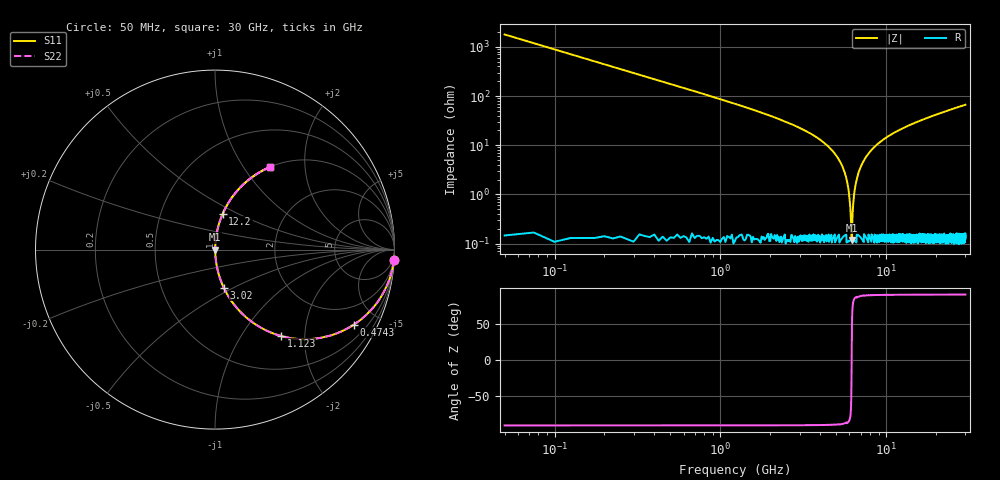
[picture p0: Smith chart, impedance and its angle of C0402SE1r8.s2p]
!	AVX Thin Film Operation 	Date: April 2014
!	Description: Accu-P® Series, Thin Film  SMD RF Capacitor
!	Part Number: 04021J1R8PBSTR
# MHZ S MA R 50
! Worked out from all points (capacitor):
!   1201 points, 50 MHz to 30 GHz, reference 50 ohm
!   read as one part in series: C = 1.8 pF near 199.8 MHz
!   lowest |Z| = 118 mohm at 6.19 GHz (marker M1)
!   series resonance near 6.184 GHz, so ESL is about 370 pH
!   S11 on the Smith chart (normalised r, x): 50 MHz: 1, -35; 474.3 MHz: 1.00, -3.71; 1.123 GHz: 1.00, -1.52; 3.02 GHz: 1.00, -0.45; 12.2 GHz: 1.00, +0.42; 30 GHz: 1.00, +1.33
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50  0.998 -3.2  0.056 86.8  0.056 86.8  0.998 -3.2
274.625  0.955 -17.3  0.297 72.7  0.297 72.7  0.955 -17.3
474.292  0.88 -28.3  0.475 61.6  0.475 61.6  0.88 -28.3
1123.208  0.605 -52.7  0.795 37.2  0.795 37.2  0.605 -52.7
1871.958  0.394 -66.6  0.918 23.2  0.918 23.2  0.394 -66.6
3020.042  0.217 -77.1  0.975 12.6  0.975 12.6  0.217 -77.1
5041.667  0.059 -85.4  0.997 3.4  0.997 3.4  0.059 -85.4
5740.5  0.021 -85.3  0.998 1.2  0.998 1.2  0.021 -85.3
5915.208  0.013 -83.4  0.999 0.7  0.999 0.7  0.013 -83.4
6089.917  0.004561 -73.2  0.999 0.3  0.999 0.3  0.004561 -73.2
6189.75  0.001327 11.8  0.999 -0.0  0.999 -0.0  0.001327 11.8
6289.583  0.005013 74.7  0.999 -0.3  0.999 -0.3  0.005013 74.7
6414.375  0.011 82.3  0.999 -0.6  0.999 -0.6  0.011 82.3
6564.125  0.017 84.7  0.999 -1.0  0.999 -1.0  0.017 84.7
7163.125  0.042 85.8  0.998 -2.4  0.998 -2.4  0.042 85.8
8336.167  0.086 84.2  0.995 -4.9  0.995 -4.9  0.086 84.2
10058.29  0.143 81.3  0.988 -8.2  0.988 -8.2  0.143 81.3
12204.71  0.205 77.8  0.977 -11.8  0.977 -11.8  0.205 77.8
15025  0.277 73.7  0.96 -16.1  0.96 -16.1  0.277 73.7
20016.67  0.386 67.1  0.921 -22.7  0.921 -22.7  0.386 67.1
25033.29  0.477 61.4  0.878 -28.5  0.878 -28.5  0.477 61.4
30000  0.553 56.3  0.832 -33.6  0.832 -33.6  0.553 56.3
